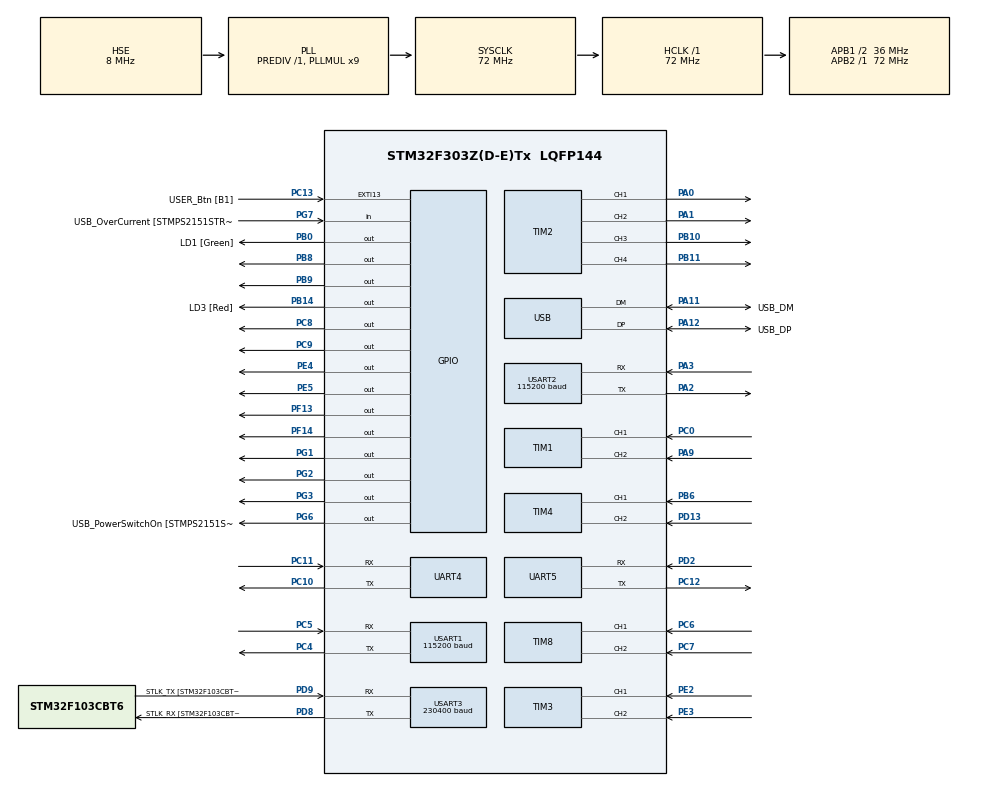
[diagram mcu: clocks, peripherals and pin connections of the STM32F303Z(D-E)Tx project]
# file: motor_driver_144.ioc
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Mcu.Family=STM32F3
Mcu.Name=STM32F303Z(D-E)Tx
Mcu.Package=LQFP144
Mcu.UserConstants=TIM16_FREQ,2e3;ENCODER_SAMPLE_FREQ,10;TIM2_FREQ,20e6;APB1_FREQ,72e6;PWM_FREQ,20e3;APB2_FREQ,72e6
NVIC.PriorityGroup=NVIC_PRIORITYGROUP_4
NVIC.TIM1_UP_TIM16_IRQn=true\:0\:0\:false\:false\:true\:true\:true\:true
NVIC.UART4_IRQn=true\:0\:0\:false\:false\:true\:true\:true\:true
NVIC.UART5_IRQn=true\:0\:0\:false\:false\:true\:true\:true\:true
NVIC.USART1_IRQn=true\:0\:0\:false\:false\:true\:true\:true\:true
NVIC.USB_LP_CAN_RX0_IRQn=true\:0\:0\:false\:false\:true\:true\:true\:true
PA0.Signal=S_TIM2_CH1_ETR
PA1.Signal=S_TIM2_CH2
PA11.GPIO_Label=USB_DM
PA11.Mode=Device
PA11.Signal=USB_DM
PA12.GPIO_Label=USB_DP
PA12.Mode=Device
PA12.Signal=USB_DP
PA13.GPIO_Label=TMS
PA13.Mode=Serial_Wire
PA13.Signal=SYS_JTMS-SWDIO
PA14.GPIO_Label=TCK
PA14.Mode=Serial_Wire
PA14.Signal=SYS_JTCK-SWCLK
PA2.Mode=Asynchronous
PA2.Signal=USART2_TX
PA3.Mode=Asynchronous
PA3.Signal=USART2_RX
PA9.Signal=S_TIM1_CH2
PB0.GPIO_Label=LD1 [Green]
PB0.Signal=GPIO_Output
PB10.Signal=S_TIM2_CH3
PB11.Signal=S_TIM2_CH4
PB14.GPIO_Label=LD3 [Red]
PB14.Signal=GPIO_Output
PB3.GPIO_Label=SWO
PB3.Signal=SYS_JTDO-TRACESWO
PB6.Signal=S_TIM4_CH1
PB8.Signal=GPIO_Output
PB9.Signal=GPIO_Output
PC0.Signal=S_TIM1_CH1
PC10.Mode=Asynchronous
PC10.Signal=UART4_TX
PC11.Mode=Asynchronous
PC11.Signal=UART4_RX
PC12.Mode=Asynchronous
PC12.Signal=UART5_TX
PC13.GPIO_Label=USER_Btn [B1]
PC13.Signal=GPXTI13
PC14-OSC32_IN.Mode=LSE-External-Oscillator
PC14-OSC32_IN.Signal=RCC_OSC32_IN
PC15-OSC32_OUT.Mode=LSE-External-Oscillator
PC15-OSC32_OUT.Signal=RCC_OSC32_OUT
PC4.Mode=Asynchronous
PC4.Signal=USART1_TX
PC5.Mode=Asynchronous
PC5.Signal=USART1_RX
PC6.Signal=S_TIM8_CH1
PC7.Signal=S_TIM8_CH2
PC8.Signal=GPIO_Output
PC9.Signal=GPIO_Output
PD13.Signal=S_TIM4_CH2
PD2.Mode=Asynchronous
PD2.Signal=UART5_RX
PD8.GPIO_Label=STLK_RX [STM32F103CBT6_PA3]
PD8.Mode=Asynchronous
PD8.Signal=USART3_TX
PD9.GPIO_Label=STLK_TX [STM32F103CBT6_PA2]
PD9.Mode=Asynchronous
PD9.Signal=USART3_RX
PE2.Signal=S_TIM3_CH1
PE3.Signal=S_TIM3_CH2
PE4.Signal=GPIO_Output
PE5.Signal=GPIO_Output
PF0-OSC_IN.GPIO_Label=MCO [STM32F103CBT6_PA8]
PF0-OSC_IN.Mode=HSE-External-Clock-Source
PF0-OSC_IN.Signal=RCC_OSC_IN
PF13.Signal=GPIO_Output
PF14.Signal=GPIO_Output
PG1.Signal=GPIO_Output
PG2.Signal=GPIO_Output
PG3.Signal=GPIO_Output
PG6.GPIO_Label=USB_PowerSwitchOn [STMPS2151STR_EN]
PG6.Signal=GPIO_Output
PG7.GPIO_Label=USB_OverCurrent [STMPS2151STR_FAULT]
PG7.Signal=GPIO_Input
ProjectManager.HeapSize=0x200
ProjectManager.StackSize=0x400
ProjectManager.TargetToolchain=STM32CubeIDE
RCC.AHBFreq_Value=72000000
RCC.APB1CLKDivider=RCC_HCLK_DIV2
RCC.APB1Freq_Value=36000000
RCC.APB1TimFreq_Value=72000000
RCC.APB2Freq_Value=72000000
RCC.APB2TimFreq_Value=72000000
RCC.CortexFreq_Value=72000000
RCC.HCLKFreq_Value=72000000
RCC.HSE_VALUE=8000000
RCC.HSI_VALUE=8000000
RCC.PLLMUL=RCC_PLL_MUL9
RCC.PRESCALERUSB=RCC_USBCLKSOURCE_PLL_DIV1_5
RCC.SYSCLKFreq_VALUE=72000000
RCC.SYSCLKSourceVirtual=RCC_SYSCLKSOURCE_PLLCLK
RCC.USBFreq_Value=48000000
SH.S_TIM1_CH1.0=TIM1_CH1,Encoder_Interface
SH.S_TIM1_CH2.0=TIM1_CH2,Encoder_Interface
SH.S_TIM2_CH1_ETR.0=TIM2_CH1,PWM Generation1 CH1
SH.S_TIM2_CH2.0=TIM2_CH2,PWM Generation2 CH2
SH.S_TIM2_CH3.0=TIM2_CH3,PWM Generation3 CH3
SH.S_TIM2_CH4.0=TIM2_CH4,PWM Generation4 CH4
SH.S_TIM3_CH1.0=TIM3_CH1,Encoder_Interface
SH.S_TIM3_CH2.0=TIM3_CH2,Encoder_Interface
SH.S_TIM4_CH1.0=TIM4_CH1,Encoder_Interface
SH.S_TIM4_CH2.0=TIM4_CH2,Encoder_Interface
SH.S_TIM8_CH1.0=TIM8_CH1,Encoder_Interface
SH.S_TIM8_CH2.0=TIM8_CH2,Encoder_Interface
TIM1.EncoderMode=TIM_ENCODERMODE_TI12
TIM16.Period=TIM16_FREQ / ENCODER_SAMPLE_FREQ -1
TIM16.Prescaler=APB2_FREQ / TIM16_FREQ - 1
TIM2.Channel-PWM\ Generation1\ CH1=TIM_CHANNEL_1
TIM2.Channel-PWM\ Generation2\ CH2=TIM_CHANNEL_2
TIM2.Channel-PWM\ Generation3\ CH3=TIM_CHANNEL_3
TIM2.Channel-PWM\ Generation4\ CH4=TIM_CHANNEL_4
TIM2.Period=TIM2_FREQ / PWM_FREQ - 1
TIM2.Prescaler=APB1_FREQ / TIM2_FREQ - 1
TIM3.EncoderMode=TIM_ENCODERMODE_TI12
TIM4.EncoderMode=TIM_ENCODERMODE_TI12
TIM8.EncoderMode=TIM_ENCODERMODE_TI12
USART1.BaudRate=115200
USART1.VirtualMode-Asynchronous=VM_ASYNC
USART2.BaudRate=115200
USART2.VirtualMode-Asynchronous=VM_ASYNC
USART3.BaudRate=230400
USART3.VirtualMode-Asynchronous=VM_ASYNC
VP_RTC_VS_RTC_Activate.Mode=RTC_Enabled
VP_TIM16_VS_ClockSourceINT.Mode=Enable_Timer
board=NUCLEO-F303ZE

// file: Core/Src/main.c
/* USER CODE BEGIN Header */
/**
 ******************************************************************************
 * @file           : main.c
 * @brief          : Main program body
 ******************************************************************************
 * @attention
 *
 * Copyright (c) 2025 STMicroelectronics.
 * All rights reserved.
 *
 * This software is licensed under terms that can be found in the LICENSE file
 * in the root directory of this software component.
 * If no LICENSE file comes with this software, it is provided AS-IS.
 *
 ******************************************************************************
 */
/* USER CODE END Header */
#include "main.h"

/* USER CODE BEGIN Includes */
#include "drive_model.h"
#include "h_bridge_control.h"
#include "chassis_param.h"
#include <math.h>
#include <stdlib.h>
#include <stdio.h>    // for sscanf, sprintf
#include <string.h>   // for strlen

extern UART_HandleTypeDef huart4;
#define RX_BUF_SIZE 64
char rxBuffer[RX_BUF_SIZE];
uint8_t rxChar;
uint8_t rxIndex = 0;
uint8_t msgReceived = 0;

/* USER CODE END Includes */

RTC_HandleTypeDef hrtc;

TIM_HandleTypeDef htim1;
TIM_HandleTypeDef htim2;
TIM_HandleTypeDef htim3;
TIM_HandleTypeDef htim4;
TIM_HandleTypeDef htim8;
TIM_HandleTypeDef htim16;

UART_HandleTypeDef huart4;
UART_HandleTypeDef huart5;
UART_HandleTypeDef huart1;
UART_HandleTypeDef huart2;
UART_HandleTypeDef huart3;

PCD_HandleTypeDef hpcd_USB_FS;

/* USER CODE BEGIN PV */
// szj
uint8_t rx_byte;
//char message_hello[] = "Hello world";
uint8_t hello_world[11] = "Hello world";
uint8_t rx_data_11[11];  ////////
uint8_t rx_data[8];

uint8_t dir1[5]; // 4 bits + null terminator
uint8_t v1[5];   // 4 bits + null terminator

char temp_str[100];//// Print v and w

char rx_buffer[8];
uint8_t transfer_cplt;
volatile uint8_t lcd_clear_flag = 0;

char szj_buf[9];
char msg[20];  // Buffer for formatted message

// At board cart:
static float v_new = 0;
static float omega = 0;
char v_buffer[100], omega_buffer[100];

// lzr
const float EPSILON = 0.001;
const float V_DEAD_BAND = 0.05;
const float W_DEAD_BAND = 0.1;
const float V_MAX = 0.5;
const float W_MAX = 3.0;
const float W_AMP = 0.5;
const int LB = 0;
const int RB = 1;
const int LF = 2;
const int RF = 3;
const int FORWARD = 1;
const int BACKWARD = 2;
const int BREAK = 3;

const int TIM2_PRD = TIM2_FREQ / PWM_FREQ - 1;
const int TEST_MODE = 1;
const int PWM_MIN = 600;

static volatile int32_t counter = 0;
static volatile uint32_t last_interrupt_time = 0;

static volatile int duty_cycle_lb = 0;
static volatile int duty_cycle_rb = 0;
static volatile int duty_cycle_lf = 0;
static volatile int duty_cycle_rf = 0;

static volatile uint32_t lb_count_last = 0;
static volatile uint32_t rb_count_last = 0;
static volatile uint32_t lf_count_last = 0;
static volatile uint32_t rf_count_last = 0;

static volatile uint32_t lb_count_current = 0;
static volatile uint32_t rb_count_current = 0;
static volatile uint32_t lf_count_current = 0;
static volatile uint32_t rf_count_current = 0;

static volatile int32_t lb_count_diff = 0;
static volatile int32_t rb_count_diff = 0;
static volatile int32_t lf_count_diff = 0;
static volatile int32_t rf_count_diff = 0;

static volatile float lb_speed_real = 0.0;
static volatile float rb_speed_real = 0.0;
static volatile float lf_speed_real = 0.0;
static volatile float rf_speed_real = 0.0;

static volatile float lb_angle_diff = 0.0;
static volatile float rb_angle_diff = 0.0;
static volatile float lf_angle_diff = 0.0;
static volatile float rf_angle_diff = 0.0;

static volatile float lb_speed_ideal = 0.0;
static volatile float rb_speed_ideal = 0.0;
static volatile float lf_speed_ideal = 0.0;
static volatile float rf_speed_ideal = 0.0;

static volatile float lb_integral = 0.0;
static volatile float lb_previous_err = 0.0;
static volatile float rb_integral = 0.0;
static volatile float rb_previous_err = 0.0;
static volatile float lf_integral = 0.0;
static volatile float lf_previous_err = 0.0;
static volatile float rf_integral = 0.0;
static volatile float rf_previous_err = 0.0;

static volatile float v_desired = 0.0;
static volatile float w_desired = 0.0;
/* USER CODE END PV */

void SystemClock_Config(void);
static void MX_GPIO_Init(void);
static void MX_RTC_Init(void);
static void MX_USART3_UART_Init(void);
static void MX_USB_PCD_Init(void);
static void MX_TIM1_Init(void);
static void MX_TIM2_Init(void);
static void MX_TIM3_Init(void);
static void MX_TIM4_Init(void);
static void MX_TIM8_Init(void);
static void MX_TIM16_Init(void);
static void MX_UART4_Init(void);
static void MX_USART1_UART_Init(void);
static void MX_USART2_UART_Init(void);
static void MX_UART5_Init(void);
/* USER CODE BEGIN PFP */
void log_to_uart(const char *msg);
void compute_lb_real_speed(float time_gap);
int pwm_mapping(int duty_cycle);
void reset_pid(void);
void motor_control(int motor, int control, float v_desired);
void set_direction(int motor, int direction);
float compute_real_speed(float time_gap, int motor);
void compute_control(float time_gap);
/* USER CODE END PFP */

/* USER CODE BEGIN 0 */

int parseVelocityData(const char* buffer, float* linear_vel, float* angular_vel)
{
    return sscanf(buffer, "%f,%f", linear_vel, angular_vel) == 2;
}

/* USER CODE END 0 */

int main(void)
{

  /* MCU Configuration--------------------------------------------------------*/

  /* Reset of all peripherals, Initializes the Flash interface and the Systick. */
  HAL_Init();

  /* Configure the system clock */
  SystemClock_Config();

  /* Initialize all configured peripherals */
  MX_GPIO_Init();
  MX_RTC_Init();
  MX_USART3_UART_Init();
  MX_USB_PCD_Init();
  MX_TIM1_Init();
  MX_TIM2_Init();
  MX_TIM3_Init();
  MX_TIM4_Init();
  MX_TIM8_Init();
  MX_TIM16_Init();
  MX_UART4_Init();
  MX_USART1_UART_Init();
  MX_USART2_UART_Init();
  MX_UART5_Init();
  /* USER CODE BEGIN 2 */
	HAL_TIM_Base_Start_IT(&htim16);
	HAL_TIM_Encoder_Start(&htim1, TIM_CHANNEL_ALL);
	HAL_TIM_Encoder_Start(&htim3, TIM_CHANNEL_ALL);
	HAL_TIM_Encoder_Start(&htim4, TIM_CHANNEL_ALL);
	HAL_TIM_Encoder_Start(&htim8, TIM_CHANNEL_ALL);

	HAL_UART_Receive_IT(&huart4, rx_data_11, 11);  // Give this back /////////////// UART 4
	HAL_UART_Receive_IT(&huart5, rx_data_11, 11);  // Use this UART 5
	//HAL_UART_Receive_IT(&huart1, rx_data_11, 11);

	//start PWM
//	__HAL_TIM_SET_COMPARE(&htim2, TIM_CHANNEL_1, 0);
//	__HAL_TIM_SET_COMPARE(&htim2, TIM_CHANNEL_2, 0);
	set_direction(LB, BREAK);
	set_direction(RB, BREAK);
	set_direction(LF, BREAK);
	set_direction(RF, BREAK);
	__HAL_TIM_SET_COMPARE(&htim2, TIM_CHANNEL_1, 0);
	__HAL_TIM_SET_COMPARE(&htim2, TIM_CHANNEL_2, 0);
	__HAL_TIM_SET_COMPARE(&htim2, TIM_CHANNEL_3, 0);
	__HAL_TIM_SET_COMPARE(&htim2, TIM_CHANNEL_4, 0);
	HAL_TIM_PWM_Start(&htim2, TIM_CHANNEL_1);
	HAL_TIM_PWM_Start(&htim2, TIM_CHANNEL_2);
	HAL_TIM_PWM_Start(&htim2, TIM_CHANNEL_3);
	HAL_TIM_PWM_Start(&htim2, TIM_CHANNEL_4);
  /* USER CODE END 2 */

  /* Infinite loop */
  /* USER CODE BEGIN WHILE */

	log_to_uart("Hello\n\r");
	char str[30];
//	sprintf(str, "%d", HAL_RCC_GetPCLK1Freq());
//	log_to_uart(str);

	lb_count_last = __HAL_TIM_GET_COUNTER(&htim3);
	rb_count_last = __HAL_TIM_GET_COUNTER(&htim4);
	lf_count_last = __HAL_TIM_GET_COUNTER(&htim1);
	rf_count_last = __HAL_TIM_GET_COUNTER(&htim8);

//	HAL_Delay(1000);
//	v_desired = 0.22;
//	w_desired = 0;
//	reset_pid();

	while (1) {
//		HAL_GPIO_TogglePin(GPIOB, GPIO_PIN_0);
//		HAL_Delay(1000);

//		  HAL_UART_Transmit(&huart5, &hello_world, 11, 10);  // Timeout = 10ms
//		  HAL_Delay(2000); // 1000ms = 1s

		  /* Shift String for testing */
//		  int i;
//		  uint8_t temp = hello_world[10]; // Store last character
//		  for (i = 10; i > 0; i--) {
//		      hello_world[i] = hello_world[i - 1];
//		  }
//		  hello_world[0] = temp;

				/*v_desired = 1;
				reset_pid();
				HAL_Delay(1000);

				v_desired = 3;
				w_desired = 0.2;
				reset_pid();
				HAL_Delay(1000);

				v_desired = -1;
				w_desired = 0.0;
				reset_pid();
				HAL_Delay(1000);
				v_desired = -0.5;
				reset_pid();
				HAL_Delay(1000);*/
//				w_desired = 1.0;
//				reset_pid();
//				HAL_Delay(2000);

//		counter = (int16_t)__HAL_TIM_GET_COUNTER(&htim3);
//		angle = (float) counter / 1320.0 * 360.0;
//		sprintf(str, "count: %ld, angle: %.2f\r\n", counter, angle);
//		log_to_uart(str);
//		HAL_Delay(100);

//		v_desired = 0.0;
//		reset_pid();
//		HAL_Delay(2000);
    /* USER CODE END WHILE */

	}
}

void SystemClock_Config(void)
{
  RCC_OscInitTypeDef RCC_OscInitStruct = {0};
  RCC_ClkInitTypeDef RCC_ClkInitStruct = {0};
  RCC_PeriphCLKInitTypeDef PeriphClkInit = {0};

  /** Initializes the RCC Oscillators according to the specified parameters
  * in the RCC_OscInitTypeDef structure.
  */
  RCC_OscInitStruct.OscillatorType = RCC_OSCILLATORTYPE_LSI|RCC_OSCILLATORTYPE_HSE;
  RCC_OscInitStruct.HSEState = RCC_HSE_BYPASS;
  RCC_OscInitStruct.HSIState = RCC_HSI_ON;
  RCC_OscInitStruct.LSIState = RCC_LSI_ON;
  RCC_OscInitStruct.PLL.PLLState = RCC_PLL_ON;
  RCC_OscInitStruct.PLL.PLLSource = RCC_PLLSOURCE_HSE;
  RCC_OscInitStruct.PLL.PLLMUL = RCC_PLL_MUL9;
  RCC_OscInitStruct.PLL.PREDIV = RCC_PREDIV_DIV1;
  if (HAL_RCC_OscConfig(&RCC_OscInitStruct) != HAL_OK)
  {
    Error_Handler();
  }

  /** Initializes the CPU, AHB and APB buses clocks
  */
  RCC_ClkInitStruct.ClockType = RCC_CLOCKTYPE_HCLK|RCC_CLOCKTYPE_SYSCLK
                              |RCC_CLOCKTYPE_PCLK1|RCC_CLOCKTYPE_PCLK2;
  RCC_ClkInitStruct.SYSCLKSource = RCC_SYSCLKSOURCE_PLLCLK;
  RCC_ClkInitStruct.AHBCLKDivider = RCC_SYSCLK_DIV1;
  RCC_ClkInitStruct.APB1CLKDivider = RCC_HCLK_DIV2;
  RCC_ClkInitStruct.APB2CLKDivider = RCC_HCLK_DIV1;

  if (HAL_RCC_ClockConfig(&RCC_ClkInitStruct, FLASH_LATENCY_2) != HAL_OK)
  {
    Error_Handler();
  }
  PeriphClkInit.PeriphClockSelection = RCC_PERIPHCLK_USB|RCC_PERIPHCLK_USART1
                              |RCC_PERIPHCLK_USART2|RCC_PERIPHCLK_USART3
                              |RCC_PERIPHCLK_UART4|RCC_PERIPHCLK_UART5
                              |RCC_PERIPHCLK_RTC|RCC_PERIPHCLK_TIM1
                              |RCC_PERIPHCLK_TIM16|RCC_PERIPHCLK_TIM8
                              |RCC_PERIPHCLK_TIM2|RCC_PERIPHCLK_TIM34;
  PeriphClkInit.Usart1ClockSelection = RCC_USART1CLKSOURCE_PCLK2;
  PeriphClkInit.Usart2ClockSelection = RCC_USART2CLKSOURCE_PCLK1;
  PeriphClkInit.Usart3ClockSelection = RCC_USART3CLKSOURCE_PCLK1;
  PeriphClkInit.Uart4ClockSelection = RCC_UART4CLKSOURCE_PCLK1;
  PeriphClkInit.Uart5ClockSelection = RCC_UART5CLKSOURCE_PCLK1;
  PeriphClkInit.RTCClockSelection = RCC_RTCCLKSOURCE_LSI;
  PeriphClkInit.USBClockSelection = RCC_USBCLKSOURCE_PLL_DIV1_5;
  PeriphClkInit.Tim1ClockSelection = RCC_TIM1CLK_HCLK;
  PeriphClkInit.Tim16ClockSelection = RCC_TIM16CLK_HCLK;
  PeriphClkInit.Tim8ClockSelection = RCC_TIM8CLK_HCLK;
  PeriphClkInit.Tim2ClockSelection = RCC_TIM2CLK_HCLK;
  PeriphClkInit.Tim34ClockSelection = RCC_TIM34CLK_HCLK;
  if (HAL_RCCEx_PeriphCLKConfig(&PeriphClkInit) != HAL_OK)
  {
    Error_Handler();
  }
}

static void MX_RTC_Init(void)
{

  /** Initialize RTC Only
  */
  hrtc.Instance = RTC;
  hrtc.Init.HourFormat = RTC_HOURFORMAT_24;
  hrtc.Init.AsynchPrediv = 127;
  hrtc.Init.SynchPrediv = 255;
  hrtc.Init.OutPut = RTC_OUTPUT_DISABLE;
  hrtc.Init.OutPutPolarity = RTC_OUTPUT_POLARITY_HIGH;
  hrtc.Init.OutPutType = RTC_OUTPUT_TYPE_OPENDRAIN;
  if (HAL_RTC_Init(&hrtc) != HAL_OK)
  {
    Error_Handler();
  }

}

static void MX_TIM1_Init(void)
{

  TIM_Encoder_InitTypeDef sConfig = {0};
  TIM_MasterConfigTypeDef sMasterConfig = {0};

  htim1.Instance = TIM1;
  htim1.Init.Prescaler = 0;
  htim1.Init.CounterMode = TIM_COUNTERMODE_UP;
  htim1.Init.Period = 65535;
  htim1.Init.ClockDivision = TIM_CLOCKDIVISION_DIV1;
  htim1.Init.RepetitionCounter = 0;
  htim1.Init.AutoReloadPreload = TIM_AUTORELOAD_PRELOAD_DISABLE;
  sConfig.EncoderMode = TIM_ENCODERMODE_TI12;
  sConfig.IC1Polarity = TIM_ICPOLARITY_RISING;
  sConfig.IC1Selection = TIM_ICSELECTION_DIRECTTI;
  sConfig.IC1Prescaler = TIM_ICPSC_DIV1;
  sConfig.IC1Filter = 0;
  sConfig.IC2Polarity = TIM_ICPOLARITY_RISING;
  sConfig.IC2Selection = TIM_ICSELECTION_DIRECTTI;
  sConfig.IC2Prescaler = TIM_ICPSC_DIV1;
  sConfig.IC2Filter = 0;
  if (HAL_TIM_Encoder_Init(&htim1, &sConfig) != HAL_OK)
  {
    Error_Handler();
  }
  sMasterConfig.MasterOutputTrigger = TIM_TRGO_RESET;
  sMasterConfig.MasterOutputTrigger2 = TIM_TRGO2_RESET;
  sMasterConfig.MasterSlaveMode = TIM_MASTERSLAVEMODE_DISABLE;
  if (HAL_TIMEx_MasterConfigSynchronization(&htim1, &sMasterConfig) != HAL_OK)
  {
    Error_Handler();
  }

}

static void MX_TIM2_Init(void)
{

  TIM_MasterConfigTypeDef sMasterConfig = {0};
  TIM_OC_InitTypeDef sConfigOC = {0};

  htim2.Instance = TIM2;
  htim2.Init.Prescaler = APB1_FREQ / TIM2_FREQ - 1;
  htim2.Init.CounterMode = TIM_COUNTERMODE_UP;
  htim2.Init.Period = TIM2_FREQ / PWM_FREQ - 1;
  htim2.Init.ClockDivision = TIM_CLOCKDIVISION_DIV1;
  htim2.Init.AutoReloadPreload = TIM_AUTORELOAD_PRELOAD_DISABLE;
  if (HAL_TIM_PWM_Init(&htim2) != HAL_OK)
  {
    Error_Handler();
  }
  sMasterConfig.MasterOutputTrigger = TIM_TRGO_RESET;
  sMasterConfig.MasterSlaveMode = TIM_MASTERSLAVEMODE_DISABLE;
  if (HAL_TIMEx_MasterConfigSynchronization(&htim2, &sMasterConfig) != HAL_OK)
  {
    Error_Handler();
  }
  sConfigOC.OCMode = TIM_OCMODE_PWM1;
  sConfigOC.Pulse = 0;
  sConfigOC.OCPolarity = TIM_OCPOLARITY_HIGH;
  sConfigOC.OCFastMode = TIM_OCFAST_DISABLE;
  if (HAL_TIM_PWM_ConfigChannel(&htim2, &sConfigOC, TIM_CHANNEL_1) != HAL_OK)
  {
    Error_Handler();
  }
  if (HAL_TIM_PWM_ConfigChannel(&htim2, &sConfigOC, TIM_CHANNEL_2) != HAL_OK)
  {
    Error_Handler();
  }
  if (HAL_TIM_PWM_ConfigChannel(&htim2, &sConfigOC, TIM_CHANNEL_3) != HAL_OK)
  {
    Error_Handler();
  }
  if (HAL_TIM_PWM_ConfigChannel(&htim2, &sConfigOC, TIM_CHANNEL_4) != HAL_OK)
  {
    Error_Handler();
  }
  HAL_TIM_MspPostInit(&htim2);

}

static void MX_TIM3_Init(void)
{

  TIM_Encoder_InitTypeDef sConfig = {0};
  TIM_MasterConfigTypeDef sMasterConfig = {0};

  htim3.Instance = TIM3;
  htim3.Init.Prescaler = 0;
  htim3.Init.CounterMode = TIM_COUNTERMODE_UP;
  htim3.Init.Period = 65535;
  htim3.Init.ClockDivision = TIM_CLOCKDIVISION_DIV1;
  htim3.Init.AutoReloadPreload = TIM_AUTORELOAD_PRELOAD_DISABLE;
  sConfig.EncoderMode = TIM_ENCODERMODE_TI12;
  sConfig.IC1Polarity = TIM_ICPOLARITY_RISING;
  sConfig.IC1Selection = TIM_ICSELECTION_DIRECTTI;
  sConfig.IC1Prescaler = TIM_ICPSC_DIV1;
  sConfig.IC1Filter = 0;
  sConfig.IC2Polarity = TIM_ICPOLARITY_RISING;
  sConfig.IC2Selection = TIM_ICSELECTION_DIRECTTI;
  sConfig.IC2Prescaler = TIM_ICPSC_DIV1;
  sConfig.IC2Filter = 0;
  if (HAL_TIM_Encoder_Init(&htim3, &sConfig) != HAL_OK)
  {
    Error_Handler();
  }
  sMasterConfig.MasterOutputTrigger = TIM_TRGO_RESET;
  sMasterConfig.MasterSlaveMode = TIM_MASTERSLAVEMODE_DISABLE;
  if (HAL_TIMEx_MasterConfigSynchronization(&htim3, &sMasterConfig) != HAL_OK)
  {
    Error_Handler();
  }

}

static void MX_TIM4_Init(void)
{

  TIM_Encoder_InitTypeDef sConfig = {0};
  TIM_MasterConfigTypeDef sMasterConfig = {0};

  htim4.Instance = TIM4;
  htim4.Init.Prescaler = 0;
  htim4.Init.CounterMode = TIM_COUNTERMODE_UP;
  htim4.Init.Period = 65535;
  htim4.Init.ClockDivision = TIM_CLOCKDIVISION_DIV1;
  htim4.Init.AutoReloadPreload = TIM_AUTORELOAD_PRELOAD_DISABLE;
  sConfig.EncoderMode = TIM_ENCODERMODE_TI12;
  sConfig.IC1Polarity = TIM_ICPOLARITY_RISING;
  sConfig.IC1Selection = TIM_ICSELECTION_DIRECTTI;
  sConfig.IC1Prescaler = TIM_ICPSC_DIV1;
  sConfig.IC1Filter = 0;
  sConfig.IC2Polarity = TIM_ICPOLARITY_RISING;
  sConfig.IC2Selection = TIM_ICSELECTION_DIRECTTI;
  sConfig.IC2Prescaler = TIM_ICPSC_DIV1;
  sConfig.IC2Filter = 0;
  if (HAL_TIM_Encoder_Init(&htim4, &sConfig) != HAL_OK)
  {
    Error_Handler();
  }
  sMasterConfig.MasterOutputTrigger = TIM_TRGO_RESET;
  sMasterConfig.MasterSlaveMode = TIM_MASTERSLAVEMODE_DISABLE;
  if (HAL_TIMEx_MasterConfigSynchronization(&htim4, &sMasterConfig) != HAL_OK)
  {
    Error_Handler();
  }

}

static void MX_TIM8_Init(void)
{

  TIM_Encoder_InitTypeDef sConfig = {0};
  TIM_MasterConfigTypeDef sMasterConfig = {0};

  htim8.Instance = TIM8;
  htim8.Init.Prescaler = 0;
  htim8.Init.CounterMode = TIM_COUNTERMODE_UP;
  htim8.Init.Period = 65535;
  htim8.Init.ClockDivision = TIM_CLOCKDIVISION_DIV1;
  htim8.Init.RepetitionCounter = 0;
  htim8.Init.AutoReloadPreload = TIM_AUTORELOAD_PRELOAD_DISABLE;
  sConfig.EncoderMode = TIM_ENCODERMODE_TI12;
  sConfig.IC1Polarity = TIM_ICPOLARITY_RISING;
  sConfig.IC1Selection = TIM_ICSELECTION_DIRECTTI;
  sConfig.IC1Prescaler = TIM_ICPSC_DIV1;
  sConfig.IC1Filter = 0;
  sConfig.IC2Polarity = TIM_ICPOLARITY_RISING;
  sConfig.IC2Selection = TIM_ICSELECTION_DIRECTTI;
  sConfig.IC2Prescaler = TIM_ICPSC_DIV1;
  sConfig.IC2Filter = 0;
  if (HAL_TIM_Encoder_Init(&htim8, &sConfig) != HAL_OK)
  {
    Error_Handler();
  }
  sMasterConfig.MasterOutputTrigger = TIM_TRGO_RESET;
  sMasterConfig.MasterOutputTrigger2 = TIM_TRGO2_RESET;
  sMasterConfig.MasterSlaveMode = TIM_MASTERSLAVEMODE_DISABLE;
  if (HAL_TIMEx_MasterConfigSynchronization(&htim8, &sMasterConfig) != HAL_OK)
  {
    Error_Handler();
  }

}

static void MX_TIM16_Init(void)
{

  htim16.Instance = TIM16;
  htim16.Init.Prescaler = APB2_FREQ / TIM16_FREQ - 1;
  htim16.Init.CounterMode = TIM_COUNTERMODE_UP;
  htim16.Init.Period = TIM16_FREQ / ENCODER_SAMPLE_FREQ -1;
  htim16.Init.ClockDivision = TIM_CLOCKDIVISION_DIV1;
  htim16.Init.RepetitionCounter = 0;
  htim16.Init.AutoReloadPreload = TIM_AUTORELOAD_PRELOAD_DISABLE;
  if (HAL_TIM_Base_Init(&htim16) != HAL_OK)
  {
    Error_Handler();
  }

}

static void MX_UART4_Init(void)
{

  huart4.Instance = UART4;
  huart4.Init.BaudRate = 115200;
  huart4.Init.WordLength = UART_WORDLENGTH_8B;
  huart4.Init.StopBits = UART_STOPBITS_1;
  huart4.Init.Parity = UART_PARITY_NONE;
  huart4.Init.Mode = UART_MODE_TX_RX;
  huart4.Init.HwFlowCtl = UART_HWCONTROL_NONE;
  huart4.Init.OverSampling = UART_OVERSAMPLING_16;
  huart4.Init.OneBitSampling = UART_ONE_BIT_SAMPLE_DISABLE;
  huart4.AdvancedInit.AdvFeatureInit = UART_ADVFEATURE_NO_INIT;
  if (HAL_UART_Init(&huart4) != HAL_OK)
  {
    Error_Handler();
  }

}

static void MX_UART5_Init(void)
{

  huart5.Instance = UART5;
  huart5.Init.BaudRate = 115200;
  huart5.Init.WordLength = UART_WORDLENGTH_8B;
  huart5.Init.StopBits = UART_STOPBITS_1;
  huart5.Init.Parity = UART_PARITY_NONE;
  huart5.Init.Mode = UART_MODE_TX_RX;
  huart5.Init.HwFlowCtl = UART_HWCONTROL_NONE;
  huart5.Init.OverSampling = UART_OVERSAMPLING_16;
  huart5.Init.OneBitSampling = UART_ONE_BIT_SAMPLE_DISABLE;
  huart5.AdvancedInit.AdvFeatureInit = UART_ADVFEATURE_NO_INIT;
  if (HAL_UART_Init(&huart5) != HAL_OK)
  {
    Error_Handler();
  }

}

static void MX_USART1_UART_Init(void)
{

  huart1.Instance = USART1;
  huart1.Init.BaudRate = 115200;
  huart1.Init.WordLength = UART_WORDLENGTH_8B;
  huart1.Init.StopBits = UART_STOPBITS_1;
  huart1.Init.Parity = UART_PARITY_NONE;
  huart1.Init.Mode = UART_MODE_TX_RX;
  huart1.Init.HwFlowCtl = UART_HWCONTROL_NONE;
  huart1.Init.OverSampling = UART_OVERSAMPLING_16;
  huart1.Init.OneBitSampling = UART_ONE_BIT_SAMPLE_DISABLE;
  huart1.AdvancedInit.AdvFeatureInit = UART_ADVFEATURE_NO_INIT;
  if (HAL_UART_Init(&huart1) != HAL_OK)
  {
    Error_Handler();
  }

}

static void MX_USART2_UART_Init(void)
{

  huart2.Instance = USART2;
  huart2.Init.BaudRate = 115200;
  huart2.Init.WordLength = UART_WORDLENGTH_8B;
  huart2.Init.StopBits = UART_STOPBITS_1;
  huart2.Init.Parity = UART_PARITY_NONE;
  huart2.Init.Mode = UART_MODE_TX_RX;
  huart2.Init.HwFlowCtl = UART_HWCONTROL_NONE;
  huart2.Init.OverSampling = UART_OVERSAMPLING_16;
  huart2.Init.OneBitSampling = UART_ONE_BIT_SAMPLE_DISABLE;
  huart2.AdvancedInit.AdvFeatureInit = UART_ADVFEATURE_NO_INIT;
  if (HAL_UART_Init(&huart2) != HAL_OK)
  {
    Error_Handler();
  }

}

static void MX_USART3_UART_Init(void)
{

  huart3.Instance = USART3;
  huart3.Init.BaudRate = 230400;
  huart3.Init.WordLength = UART_WORDLENGTH_8B;
  huart3.Init.StopBits = UART_STOPBITS_1;
  huart3.Init.Parity = UART_PARITY_NONE;
  huart3.Init.Mode = UART_MODE_TX_RX;
  huart3.Init.HwFlowCtl = UART_HWCONTROL_NONE;
  huart3.Init.OverSampling = UART_OVERSAMPLING_16;
  huart3.Init.OneBitSampling = UART_ONE_BIT_SAMPLE_DISABLE;
  huart3.AdvancedInit.AdvFeatureInit = UART_ADVFEATURE_NO_INIT;
  if (HAL_UART_Init(&huart3) != HAL_OK)
  {
    Error_Handler();
  }

}

static void MX_USB_PCD_Init(void)
{

  hpcd_USB_FS.Instance = USB;
  hpcd_USB_FS.Init.dev_endpoints = 8;
  hpcd_USB_FS.Init.speed = PCD_SPEED_FULL;
  hpcd_USB_FS.Init.phy_itface = PCD_PHY_EMBEDDED;
  hpcd_USB_FS.Init.low_power_enable = DISABLE;
  hpcd_USB_FS.Init.lpm_enable = DISABLE;
  hpcd_USB_FS.Init.battery_charging_enable = DISABLE;
  if (HAL_PCD_Init(&hpcd_USB_FS) != HAL_OK)
  {
    Error_Handler();
  }

}

static void MX_GPIO_Init(void)
{
  GPIO_InitTypeDef GPIO_InitStruct = {0};

  /* GPIO Ports Clock Enable */
  __HAL_RCC_GPIOE_CLK_ENABLE();
  __HAL_RCC_GPIOC_CLK_ENABLE();
  __HAL_RCC_GPIOF_CLK_ENABLE();
  __HAL_RCC_GPIOA_CLK_ENABLE();
  __HAL_RCC_GPIOB_CLK_ENABLE();
  __HAL_RCC_GPIOG_CLK_ENABLE();
  __HAL_RCC_GPIOD_CLK_ENABLE();

  /*Configure GPIO pin Output Level */
  HAL_GPIO_WritePin(GPIOE, GPIO_PIN_4|GPIO_PIN_5, GPIO_PIN_RESET);

  /*Configure GPIO pin Output Level */
  HAL_GPIO_WritePin(GPIOB, LD1_Pin|LD3_Pin|GPIO_PIN_8|GPIO_PIN_9, GPIO_PIN_RESET);

  /*Configure GPIO pin Output Level */
  HAL_GPIO_WritePin(GPIOF, GPIO_PIN_13|GPIO_PIN_14, GPIO_PIN_RESET);

  /*Configure GPIO pin Output Level */
  HAL_GPIO_WritePin(GPIOG, GPIO_PIN_1|GPIO_PIN_2|GPIO_PIN_3|USB_PowerSwitchOn_Pin, GPIO_PIN_RESET);

  /*Configure GPIO pin Output Level */
  HAL_GPIO_WritePin(GPIOC, GPIO_PIN_8|GPIO_PIN_9, GPIO_PIN_RESET);

  /*Configure GPIO pins : PE4 PE5 */
  GPIO_InitStruct.Pin = GPIO_PIN_4|GPIO_PIN_5;
  GPIO_InitStruct.Mode = GPIO_MODE_OUTPUT_PP;
  GPIO_InitStruct.Pull = GPIO_NOPULL;
  GPIO_InitStruct.Speed = GPIO_SPEED_FREQ_LOW;
  HAL_GPIO_Init(GPIOE, &GPIO_InitStruct);

  /*Configure GPIO pin : USER_Btn_Pin */
  GPIO_InitStruct.Pin = USER_Btn_Pin;
  GPIO_InitStruct.Mode = GPIO_MODE_IT_RISING;
  GPIO_InitStruct.Pull = GPIO_NOPULL;
  HAL_GPIO_Init(USER_Btn_GPIO_Port, &GPIO_InitStruct);

  /*Configure GPIO pins : LD1_Pin LD3_Pin PB8 PB9 */
  GPIO_InitStruct.Pin = LD1_Pin|LD3_Pin|GPIO_PIN_8|GPIO_PIN_9;
  GPIO_InitStruct.Mode = GPIO_MODE_OUTPUT_PP;
  GPIO_InitStruct.Pull = GPIO_NOPULL;
  GPIO_InitStruct.Speed = GPIO_SPEED_FREQ_LOW;
  HAL_GPIO_Init(GPIOB, &GPIO_InitStruct);

  /*Configure GPIO pins : PF13 PF14 */
  GPIO_InitStruct.Pin = GPIO_PIN_13|GPIO_PIN_14;
  GPIO_InitStruct.Mode = GPIO_MODE_OUTPUT_PP;
  GPIO_InitStruct.Pull = GPIO_NOPULL;
  GPIO_InitStruct.Speed = GPIO_SPEED_FREQ_LOW;
  HAL_GPIO_Init(GPIOF, &GPIO_InitStruct);

  /*Configure GPIO pins : PG1 PG2 PG3 USB_PowerSwitchOn_Pin */
  GPIO_InitStruct.Pin = GPIO_PIN_1|GPIO_PIN_2|GPIO_PIN_3|USB_PowerSwitchOn_Pin;
  GPIO_InitStruct.Mode = GPIO_MODE_OUTPUT_PP;
  GPIO_InitStruct.Pull = GPIO_NOPULL;
  GPIO_InitStruct.Speed = GPIO_SPEED_FREQ_LOW;
  HAL_GPIO_Init(GPIOG, &GPIO_InitStruct);

  /*Configure GPIO pin : USB_OverCurrent_Pin */
  GPIO_InitStruct.Pin = USB_OverCurrent_Pin;
  GPIO_InitStruct.Mode = GPIO_MODE_INPUT;
  GPIO_InitStruct.Pull = GPIO_NOPULL;
  HAL_GPIO_Init(USB_OverCurrent_GPIO_Port, &GPIO_InitStruct);

  /*Configure GPIO pins : PC8 PC9 */
  GPIO_InitStruct.Pin = GPIO_PIN_8|GPIO_PIN_9;
  GPIO_InitStruct.Mode = GPIO_MODE_OUTPUT_PP;
  GPIO_InitStruct.Pull = GPIO_NOPULL;
  GPIO_InitStruct.Speed = GPIO_SPEED_FREQ_LOW;
  HAL_GPIO_Init(GPIOC, &GPIO_InitStruct);

}

/* USER CODE BEGIN 4 */
//wo de
void HAL_UART_RxCpltCallback(UART_HandleTypeDef *huart)
{
	//wo de:
    if (huart->Instance == UART5)
    {
//		reset_pid();

		HAL_GPIO_TogglePin(GPIOB, GPIO_PIN_0);
		//HAL_UART_Transmit(&huart3, rx_data_11, 11, 10); // Send received byte to PC (UART3 -> COM port)

		/* Process receive buffer */
		// Map buffer in size 11 to size 8 to process
		for (int i = 0; i < 8; i++) {
			rx_data[i] = rx_data_11[i];
		}

		// Copy upper 4 bits (index 0 to 3) to dir1
		for (int i = 0; i < 4; i++) {
			dir1[i] = rx_data[i]; // '0' or '1'
		}
		dir1[4] = '\0'; // Null terminator

		// Copy lower 4 bits (index 4 to 7) to v1
		for (int i = 0; i < 4; i++) {
			v1[i] = rx_data[i + 4]; // '0' or '1'
		}
		v1[4] = '\0'; // Null terminator

		HAL_UART_Transmit(&huart3, (uint8_t*) "Buffer:", 7, 10);
        HAL_UART_Transmit(&huart3, rx_data, 8, 10); ////
		HAL_UART_Transmit(&huart3, (uint8_t*) "\r\n", 3, 10);

//		HAL_UART_Transmit(&huart3, (uint8_t*) "dir1:", 5, 10);
//		HAL_UART_Transmit(&huart3,  dir1, strlen(dir1), 10);
//		HAL_UART_Transmit(&huart3, (uint8_t*) "\r\n", 2, 10);
//
//		HAL_UART_Transmit(&huart3, (uint8_t*) "v1:", 3, 10);
//		HAL_UART_Transmit(&huart3,  v1, strlen(v1), 10);
//		HAL_UART_Transmit(&huart3, (uint8_t*) "\r\n", 2, 10);

		// float v without sign
		if (strcmp(v1, "0000") == 0) {
			v_new = 0.0;

//			HAL_UART_Transmit(&huart3, (uint8_t*) "v1=0000:", 8, 10);
//			HAL_UART_Transmit(&huart3, (uint8_t*) "\r\n", 2, 10);
		} else if (strcmp(v1, "0001") == 0) {
			v_new = 0.1;
//
//			HAL_UART_Transmit(&huart3, (uint8_t*) "v1=0001:", 8, 10);
//			HAL_UART_Transmit(&huart3, (uint8_t*) "\r\n", 2, 10);
		} else if (strcmp(v1, "0010") == 0) {
			v_new = 0.2;

//			HAL_UART_Transmit(&huart3, (uint8_t*) "v1=0010:", 8, 10);
//			HAL_UART_Transmit(&huart3, (uint8_t*) "\r\n", 2, 10);
		} else if (strcmp(v1, "0011") == 0) {
			v_new = 0.3;

//			HAL_UART_Transmit(&huart3, (uint8_t*) "v1=0011:", 8, 10);
//			HAL_UART_Transmit(&huart3, (uint8_t*) "\r\n", 2, 10);
		} else if (strcmp(v1, "0100") == 0) {
			v_new = 0.4;

//			HAL_UART_Transmit(&huart3, (uint8_t*) "v1=0100:", 8, 10);
//			HAL_UART_Transmit(&huart3, (uint8_t*) "\r\n", 2, 10);
		} else {
//			HAL_UART_Transmit(&huart3, (uint8_t*) "Error", 5, 10);
//			HAL_UART_Transmit(&huart3, (uint8_t*) "\r\n", 2, 10);
		}

		// Adding sign to float v
		// float w
		if (strcmp(dir1, "0001") == 0) {
			omega = 1 * v_new * 3;
			v_new = 1 * v_new;

//			HAL_UART_Transmit(&huart3, (uint8_t*) "dir1=0001:", 10, 10);
//			HAL_UART_Transmit(&huart3, (uint8_t*) "\r\n", 2, 10);
		} else if (strcmp(dir1, "0010") == 0) {
			omega = (-1) * v_new * 3;
			v_new = 1 * v_new;
//
//			HAL_UART_Transmit(&huart3, (uint8_t*) "dir1=0010:", 10, 10);
//			HAL_UART_Transmit(&huart3, (uint8_t*) "\r\n", 2, 10);
		} else if (strcmp(dir1, "0011") == 0) {
			omega = 0;
			v_new = (-1) * v_new;

//			HAL_UART_Transmit(&huart3, (uint8_t*) "dir1=0011:", 10, 10);
//			HAL_UART_Transmit(&huart3, (uint8_t*) "\r\n", 2, 10);
		} else if (strcmp(dir1, "0000") == 0) {
			omega = 0;
			v_new = 1 * v_new;

//			HAL_UART_Transmit(&huart3, (uint8_t*) "dir1=0000:", 10, 10);
//			HAL_UART_Transmit(&huart3, (uint8_t*) "\r\n", 2, 10);
		} else {
//			HAL_UART_Transmit(&huart3, (uint8_t*) "Error", 5, 10);
//			HAL_UART_Transmit(&huart3, (uint8_t*) "\r\n", 2, 10);
		}

		v_desired = v_new;
		w_desired = omega;
		sprintf(temp_str, "v: %+6.2f | w: %+6.2fd\r\n", v_desired, w_desired);
		log_to_uart(temp_str);

//		HAL_UART_Transmit(&huart3, (uint8_t*) "\n\n", 2, 10);

		// Flag
		HAL_UART_Receive_IT(&huart5, rx_data_11, 11);
    }

//    // lhz:
//	if ((huart->Instance == UART4)  && 0){
//
//		if (rxChar == '\n' || rxChar == '\r') {
//			if (rxIndex > 0) {
//				rxBuffer[rxIndex] = '\0';
//				msgReceived = 1;
//				float v = 0.0f, w = 0.0f;
//				if (parseVelocityData(rxBuffer, &v, &w)) {
//					//HAL_GPIO_TogglePin(GPIOB, GPIO_PIN_0);
//					v_desired = v;
//					if (w < -1 * W_DEAD_BAND) {
//						w_desired = w - W_AMP;
//					} else if (w > W_DEAD_BAND) {
//						w_desired = w + W_AMP;
//					} else {
//						w_desired = w;
//					}
//				}
//				msgReceived = 0;
//				rxIndex = 0;
//			}
//		} else {
//			if (rxIndex < RX_BUF_SIZE - 1) {
//				rxBuffer[rxIndex++] = rxChar;
//			} else {
//				rxIndex = 0;  // overflow, reset
//			}
//		}
//	}

	if (huart->Instance == UART4) {

		HAL_GPIO_TogglePin(GPIOB, GPIO_PIN_0);
		//HAL_UART_Transmit(&huart3, rx_data_11, 11, 10); // Send received byte to PC (UART3 -> COM port)

		/* Process receive buffer */
		// Map buffer in size 11 to size 8 to process
		for (int i = 0; i < 8; i++) {
			rx_data[i] = rx_data_11[i];
		}

		// Copy upper 4 bits (index 0 to 3) to dir1
		for (int i = 0; i < 4; i++) {
			dir1[i] = rx_data[i]; // '0' or '1'
		}
		dir1[4] = '\0'; // Null terminator

		// Copy lower 4 bits (index 4 to 7) to v1
		for (int i = 0; i < 4; i++) {
			v1[i] = rx_data[i + 4]; // '0' or '1'
		}
		v1[4] = '\0'; // Null terminator

		HAL_UART_Transmit(&huart3, (uint8_t*) "Buffer:", 7, 10);
        HAL_UART_Transmit(&huart3, rx_data, 8, 10); ////
		HAL_UART_Transmit(&huart3, (uint8_t*) "\r\n", 3, 10);

//		HAL_UART_Transmit(&huart3, (uint8_t*) "dir1:", 5, 10);
//		HAL_UART_Transmit(&huart3,  dir1, strlen(dir1), 10);
//		HAL_UART_Transmit(&huart3, (uint8_t*) "\r\n", 2, 10);
//
//		HAL_UART_Transmit(&huart3, (uint8_t*) "v1:", 3, 10);
//		HAL_UART_Transmit(&huart3,  v1, strlen(v1), 10);
//		HAL_UART_Transmit(&huart3, (uint8_t*) "\r\n", 2, 10);

		// float v without sign
		if (strcmp(v1, "0000") == 0) {
			v_new = 0.0;

			HAL_UART_Transmit(&huart3, (uint8_t*) "v1=0000:", 8, 10);
			HAL_UART_Transmit(&huart3, (uint8_t*) "\r\n", 2, 10);
		} else if (strcmp(v1, "0001") == 0) {
			v_new = 0.3;

			HAL_UART_Transmit(&huart3, (uint8_t*) "v1=0001:", 8, 10);
			HAL_UART_Transmit(&huart3, (uint8_t*) "\r\n", 2, 10);
		} else if (strcmp(v1, "0010") == 0) {
			v_new = 0.6;

			HAL_UART_Transmit(&huart3, (uint8_t*) "v1=0010:", 8, 10);
			HAL_UART_Transmit(&huart3, (uint8_t*) "\r\n", 2, 10);
		} else if (strcmp(v1, "0011") == 0) {
			v_new = 0.9;

			HAL_UART_Transmit(&huart3, (uint8_t*) "v1=0011:", 8, 10);
			HAL_UART_Transmit(&huart3, (uint8_t*) "\r\n", 2, 10);
		} else if (strcmp(v1, "0100") == 0) {
			v_new = 1.0;

			HAL_UART_Transmit(&huart3, (uint8_t*) "v1=0100:", 8, 10);
			HAL_UART_Transmit(&huart3, (uint8_t*) "\r\n", 2, 10);
		} else {
			HAL_UART_Transmit(&huart3, (uint8_t*) "Error", 5, 10);
			HAL_UART_Transmit(&huart3, (uint8_t*) "\r\n", 2, 10);
		}

		// Adding sign to float v
		// float w
		if (strcmp(dir1, "0001") == 0) {
			omega = 1 * v_new;
			v_new = 1 * v_new;

			HAL_UART_Transmit(&huart3, (uint8_t*) "dir1=0001:", 10, 10);
			HAL_UART_Transmit(&huart3, (uint8_t*) "\r\n", 2, 10);
		} else if (strcmp(dir1, "0010") == 0) {
			omega = (-1) * v_new;
			v_new = 1 * v_new;

			HAL_UART_Transmit(&huart3, (uint8_t*) "dir1=0010:", 10, 10);
			HAL_UART_Transmit(&huart3, (uint8_t*) "\r\n", 2, 10);
		} else if (strcmp(dir1, "0011") == 0) {
			omega = 0;
			v_new = 0;

			HAL_UART_Transmit(&huart3, (uint8_t*) "dir1=0011:", 10, 10);
			HAL_UART_Transmit(&huart3, (uint8_t*) "\r\n", 2, 10);
		} else if (strcmp(dir1, "0000") == 0) {
			omega = 0;
			v_new = 1 * v_new;

			HAL_UART_Transmit(&huart3, (uint8_t*) "dir1=0000:", 10, 10);
			HAL_UART_Transmit(&huart3, (uint8_t*) "\r\n", 2, 10);
		} else {
			HAL_UART_Transmit(&huart3, (uint8_t*) "Error", 5, 10);
			HAL_UART_Transmit(&huart3, (uint8_t*) "\r\n", 2, 10);
		}

		v_desired = v_new;
		w_desired = omega;

		HAL_UART_Transmit(&huart3, (uint8_t*) "\n\n", 2, 10);

		// Flag
		HAL_UART_Receive_IT(&huart4, rx_data_11, 11);

	}

    //HAL_UART_Receive_IT(&huart1, &rx_byte, 1);
	//HAL_UART_Receive_IT(&huart4, &rxChar, 1);  // re-arm
}

// LZR de
void HAL_TIM_PeriodElapsedCallback(TIM_HandleTypeDef *htim) {
	if (htim->Instance == TIM16) {
//		HAL_GPIO_TogglePin(GPIOB, GPIO_PIN_0);
		float time_gap = (float) (HAL_GetTick() - last_interrupt_time) / 1000.0;
		if (time_gap < EPSILON) {
			time_gap = EPSILON;
		}

		last_interrupt_time = HAL_GetTick();
		compute_control(time_gap);

//		compute_ideal_speed(v_desired, w_desired, &lb_speed_ideal,
//				&rb_speed_ideal);
//		lb_speed_real = compute_real_speed(time_gap, LB);
//		rb_speed_real = compute_real_speed(time_gap, RB);
//
//		float lb_error = fabs(lb_speed_ideal) - fabs(lb_speed_real);
//		lb_integral += lb_error * time_gap;
//		float lb_derivative = (lb_error - lb_previous_err) / time_gap;
//		lb_previous_err = lb_error;
//		const float Kp = 1000, Ki = 7500, Kd = 0.0;
//		int lb_control = (int) (Kp * lb_error + Ki * lb_integral
//				+ Kd * lb_derivative);
//
//		motor_control(LB, lb_control, lb_speed_ideal);
//		motor_control(RB, rb_control, rb_speed_ideal);
//		if(fabs(v_desired) < 0.1 && fabs(w_desired) < 0.1) {
//			lb_stop();
//			duty_cycle_lb = 0;
//			HAL_GPIO_TogglePin(GPIOB, GPIO_PIN_0);
//		}
//		else if(lb_control / abs(lb_control) > 0) {
//			lb_forward();
//			duty_cycle_lb = lb_control;
//		}
//		else {
////			lb_backward();
////			duty_cycle_lb = abs(lb_control);
//			duty_cycle_lb = 0;
//			lb_stop();
//		}
//		if (duty_cycle_lb > TIM2_PRD) {
//			duty_cycle_lb = TIM2_PRD;
//		}
	}
}

int pwm_mapping(int duty_cycle) {
//	if(duty_cycle < PWM_MIN) {
//		return PWM_MIN;
//	}
	return (int) ((float) duty_cycle / (float) TIM2_PRD
			* (float) (TIM2_PRD - PWM_MIN) + (float) PWM_MIN);
}

void motor_control(int motor, int control, float v_desired) {
	int duty_cycle = 0;
	if (fabs(v_desired) > V_DEAD_BAND) {
		if (control > 0) {
			duty_cycle = control;
			if (v_desired > 0) {
				set_direction(motor, FORWARD);
				HAL_GPIO_WritePin(GPIOB, GPIO_PIN_0, GPIO_PIN_SET);
			} else {
				set_direction(motor, BACKWARD);
				HAL_GPIO_WritePin(GPIOB, GPIO_PIN_0, GPIO_PIN_RESET);
			}
		} else {
			duty_cycle = 0;
			set_direction(motor, BREAK);
		}
	} else {
		set_direction(motor, BREAK);
	}

	if (duty_cycle > TIM2_PRD) {
		duty_cycle = TIM2_PRD;
	}

	duty_cycle = pwm_mapping(duty_cycle);
	if (motor == LB) {
		duty_cycle_lb = duty_cycle;
		__HAL_TIM_SET_COMPARE(&htim2, TIM_CHANNEL_3, duty_cycle);

	}
	else if (motor == RB) {
		duty_cycle_rb = duty_cycle;
		__HAL_TIM_SET_COMPARE(&htim2, TIM_CHANNEL_4, duty_cycle);
	}
	else if (motor == LF) {
		duty_cycle_lf = duty_cycle;
		__HAL_TIM_SET_COMPARE(&htim2, TIM_CHANNEL_1, duty_cycle);

	}
	else if (motor == RF) {
		duty_cycle_rf = duty_cycle;
		__HAL_TIM_SET_COMPARE(&htim2, TIM_CHANNEL_2, duty_cycle);

	}
}

void set_direction(int motor, int direction) {
	if (motor == LB){
		if (direction == FORWARD) {
			lb_forward();
		}
		else if (direction == BACKWARD) {
			lb_backward();
		}
		else if (direction == BREAK) {
			lb_stop();
		}
	}
	else if (motor == RB) {
		if (direction == FORWARD) {
			rb_forward();
		}
		else if (direction == BACKWARD) {
			rb_backward();
		}
		else if (direction == BREAK) {
			rb_stop();
		}
	}
	else if (motor == LF) {
		if (direction == FORWARD) {
			lf_forward();
		} else if (direction == BACKWARD) {
			lf_backward();
		} else if (direction == BREAK) {
			lf_stop();
		}
	}
	else if (motor == RF) {
		if (direction == FORWARD) {
			rf_forward();
		}
		else if (direction == BACKWARD) {
			rf_backward();
		}
		else if (direction == BREAK) {
			rf_stop();
		}
	}
}

void reset_pid(void) {
	lb_integral = 0.0;
	lb_previous_err = 0.0;
	rb_integral = 0.0;
	rb_previous_err = 0.0;
}

void compute_control(float time_gap) {
	int lb_control = 0;
	int rb_control = 0;
	int lf_control = 0;
	int rf_control = 0;
	const float Kp = 1000, Ki=7500.0; //Ki = 7500;
	const float Kd = 0.0;
	if (fabs(v_desired) > V_MAX) {
 		v_desired = V_MAX * (v_desired / fabs(v_desired));
 	}

	if (w_desired > W_MAX) {
		w_desired = W_MAX * (w_desired / fabs(w_desired));
	}

	compute_ideal_speed(v_desired, w_desired, &lb_speed_ideal,
			&rb_speed_ideal, &lf_speed_ideal, &rf_speed_ideal);

	// compute control for left side
	lb_speed_real = compute_real_speed(time_gap, LB);
	float lb_error = fabs(lb_speed_ideal) - fabs(lb_speed_real);
	lb_integral += lb_error * time_gap;
	float lb_derivative = (lb_error - lb_previous_err) / time_gap;
	lb_previous_err = lb_error;
	lb_control = (int) (Kp * lb_error + Ki * lb_integral
			+ Kd * lb_derivative);

	lf_speed_real = compute_real_speed(time_gap, LF);
	float lf_error = fabs(lf_speed_ideal) - fabs(lf_speed_real);
	lf_integral += lf_error * time_gap;
	float lf_derivative = (lf_error - lf_previous_err) / time_gap;
	lf_previous_err = lf_error;
	lf_control = (int) (Kp * lf_error + Ki * lf_integral
			+ Kd * lf_derivative);

	//compute control for right speed
	rb_speed_real = compute_real_speed(time_gap, RB);
	float rb_error = fabs(rb_speed_ideal) - fabs(rb_speed_real);
	rb_integral += rb_error * time_gap;
	float rb_derivative = (rb_error - rb_previous_err) / time_gap;
	rb_previous_err = rb_error;
	rb_control = (int) (Kp * rb_error + Ki * rb_integral
			+ Kd * rb_derivative);

	rf_speed_real = compute_real_speed(time_gap, RF);
	float rf_error = fabs(rf_speed_ideal) - fabs(rf_speed_real);
	rf_integral += rf_error * time_gap;
	float rf_derivative = (rf_error - rf_previous_err) / time_gap;
	rf_previous_err = rf_error;
	rf_control = (int) (Kp * rf_error + Ki * rf_integral
			+ Kd * rf_derivative);

	motor_control(LB, lb_control, lb_speed_ideal);
	motor_control(LF, lf_control, lf_speed_ideal);
	motor_control(RB, rb_control, rb_speed_ideal);
	motor_control(RF, rf_control, rf_speed_ideal);

	char temp_str[200];

	lb_count_current = __HAL_TIM_GET_COUNTER(&htim3);
	rb_count_current = __HAL_TIM_GET_COUNTER(&htim4);

		sprintf(temp_str,
				"[Δt: %6.2f s] v: %+6.2f | w: %+6.2f | err: %+6.2f | int: %+6.2f | der: %+6.2f | LB Ideal: %+6.2f | LB Real: %+6.2f | LB Control: %04d | LB Duty Cycle: %03d\r\n",
				time_gap, v_desired, w_desired, lb_error, lb_integral,
				lb_derivative, lb_speed_ideal, lb_speed_real, lb_control,
				duty_cycle_lb);
//		log_to_uart(temp_str);
//
		sprintf(temp_str,
				"[Δt: %6.2f s] v: %+6.2f | w: %+6.2f | err: %+6.2f | int: %+6.2f | der: %+6.2f | RB Ideal: %+6.2f | RB Real: %+6.2f | RB Control: %04d | RB Duty Cycle: %03d\r\n",
				time_gap, v_desired, w_desired, rb_error, rb_integral,
				rb_derivative, rb_speed_ideal, rb_speed_real, rb_control,
				duty_cycle_rb);
//		log_to_uart(temp_str);

//		sprintf(temp_str,
//				"[Δt: %6.2f s] v: %+6.2f | w: %+6.2f | err: %+6.2f | int: %+6.2f | der: %+6.2f | LF Ideal: %+6.2f | LF Real: %+6.2f | LF Control: %04d | LF Duty Cycle: %03d\r\n",
//				time_gap, v_desired, w_desired, lb_error, lf_integral,
//				lf_derivative, lf_speed_ideal, lf_speed_real, lf_control,
//				duty_cycle_lf);
//		log_to_uart(temp_str);
//
//		sprintf(temp_str,
//				"[Δt: %6.2f s] v: %+6.2f | w: %+6.2f | err: %+6.2f | int: %+6.2f | der: %+6.2f | RF Ideal: %+6.2f | RF Real: %+6.2f | RF Control: %04d | RF Duty Cycle: %03d\r\n",
//				time_gap, v_desired, w_desired, rf_error, rf_integral,
//				rf_derivative, rf_speed_ideal, rf_speed_real, rf_control,
//				duty_cycle_rf);
//		log_to_uart(temp_str);
//
		sprintf(temp_str, "\r\n");
		log_to_uart(temp_str);
	}

float compute_real_speed(float time_gap, int motor) {
//	char temp_str[50];
	int16_t count_diff = 0;
	float speed_real = 0.0;
	if (motor == LB) {
		count_diff = (int16_t) (__HAL_TIM_GET_COUNTER(&htim3) - lb_count_last);
		speed_real = -1 * count_diff / 1320.0 * 2 * M_PI * MOTOR_RADIUS / time_gap;
		lb_count_last = __HAL_TIM_GET_COUNTER(&htim3);
//		sprintf(temp_str, "LB count diff: %d, speed: %.4f\r\n", count_diff, speed_real);
//		log_to_uart(temp_str);
	}
	else if (motor == RB) {
		count_diff = (int16_t) (__HAL_TIM_GET_COUNTER(&htim4) - rb_count_last);
		speed_real = count_diff / 1320.0 * 2 * M_PI * MOTOR_RADIUS / time_gap;
		rb_count_last = __HAL_TIM_GET_COUNTER(&htim4);
//		sprintf(temp_str, "RB count diff: %d, speed: %.4f\r\n", count_diff, speed_real);
//		log_to_uart(temp_str);
	}
	else if (motor == LF) {
		count_diff = (int16_t) (__HAL_TIM_GET_COUNTER(&htim1) - lf_count_last);
		speed_real = -1 * count_diff / 1320.0 * 2 * M_PI * MOTOR_RADIUS / time_gap;
		lf_count_last = __HAL_TIM_GET_COUNTER(&htim1);
	}
	else if (motor == RF) {
		count_diff = (int16_t) (__HAL_TIM_GET_COUNTER(&htim8) - rf_count_last);
		speed_real = count_diff / 1320.0 * 2 * M_PI * MOTOR_RADIUS / time_gap;
		rf_count_last = __HAL_TIM_GET_COUNTER(&htim8);
	}
	return speed_real;
}

void log_to_uart(const char *msg) {
	HAL_UART_Transmit(&huart3, (uint8_t*) msg, strlen(msg), HAL_MAX_DELAY);
}

/* USER CODE END 4 */

void Error_Handler(void)
{
	__disable_irq();
	while (1) {
	}
}
